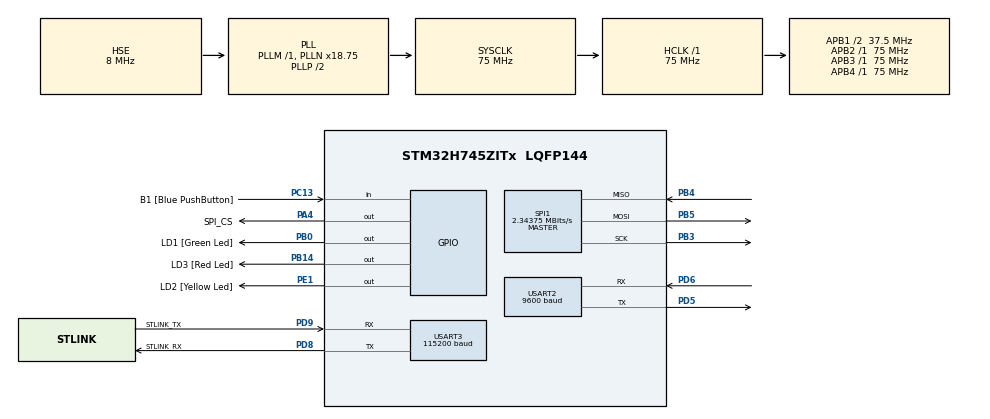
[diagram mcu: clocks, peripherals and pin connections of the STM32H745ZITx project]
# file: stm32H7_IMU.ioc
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CortexM4.IPs=BDMA,CORTEX_M4\:I,DEBUG,DMA,FATFS_M4\:I,FREERTOS_M4\:I,GPIO,IWDG2\:I,MDMA,NVIC2\:I,OPENAMP_M4\:I,PDM2PCM_M4\:I,PWR,RCC,RESMGR_UTILITY,SYS_M4\:I,USB_DEVICE_M4\:I,USB_HOST_M4\:I,VREFBUF,WWDG2\:I,USART3
CortexM4.Pins=PE1
CortexM7.IPs=BDMA\:I,CORTEX_M7\:I,DEBUG\:I,DMA\:I,FATFS_M7\:I,FREERTOS_M7\:I,GPIO\:I,IWDG1\:I,MDMA\:I,NVIC1\:I,OPENAMP_M7\:I,PDM2PCM_M7\:I,PWR\:I,RCC\:I,RESMGR_UTILITY\:I,SYS\:I,USB_DEVICE_M7\:I,USB_HOST_M7\:I,VREFBUF\:I,WWDG1\:I,USART3\:I,USART2\:I,SPI1\:I
CortexM7.Pins=PC13,PA4,PB0,PB14
Mcu.Family=STM32H7
Mcu.Name=STM32H745ZITx
Mcu.Package=LQFP144
NVIC1.PriorityGroup=NVIC_PRIORITYGROUP_4
NVIC2.PriorityGroup=NVIC_PRIORITYGROUP_4
PA4.GPIO_Label=SPI_CS
PA4.PinAttribute=CortexM7
PA4.Signal=GPIO_Output
PB0.GPIO_Label=LD1 [Green Led]
PB0.PinAttribute=CortexM7
PB0.Signal=GPIO_Output
PB14.GPIO_Label=LD3 [Red Led]
PB14.PinAttribute=CortexM7
PB14.Signal=GPIO_Output
PB3\ (JTDO/TRACESWO).Mode=Full_Duplex_Master
PB3\ (JTDO/TRACESWO).PinAttribute=CortexM7
PB3\ (JTDO/TRACESWO).Signal=SPI1_SCK
PB4\ (NJTRST).Mode=Full_Duplex_Master
PB4\ (NJTRST).PinAttribute=CortexM7
PB4\ (NJTRST).Signal=SPI1_MISO
PB5.Mode=Full_Duplex_Master
PB5.PinAttribute=CortexM7
PB5.Signal=SPI1_MOSI
PC13.GPIO_Label=B1 [Blue PushButton]
PC13.PinAttribute=CortexM7
PC13.Signal=GPIO_Input
PC14-OSC32_IN\ (OSC32_IN).Mode=LSE-External-Oscillator
PC14-OSC32_IN\ (OSC32_IN).PinAttribute=CortexM7
PC14-OSC32_IN\ (OSC32_IN).Signal=RCC_OSC32_IN
PC15-OSC32_OUT\ (OSC32_OUT).Mode=LSE-External-Oscillator
PC15-OSC32_OUT\ (OSC32_OUT).PinAttribute=CortexM7
PC15-OSC32_OUT\ (OSC32_OUT).Signal=RCC_OSC32_OUT
PD5.GPIO_ModeDefaultPP=GPIO_MODE_AF_PP
PD5.GPIO_PuPd=GPIO_NOPULL
PD5.GPIO_Speed=GPIO_SPEED_FREQ_LOW
PD5.Mode=Asynchronous
PD5.PinAttribute=CortexM7
PD5.Signal=USART2_TX
PD6.GPIO_ModeDefaultPP=GPIO_MODE_AF_PP
PD6.GPIO_PuPd=GPIO_NOPULL
PD6.GPIO_Speed=GPIO_SPEED_FREQ_LOW
PD6.Mode=Asynchronous
PD6.PinAttribute=CortexM7
PD6.Signal=USART2_RX
PD8.GPIO_Label=STLINK_RX
PD8.Mode=Asynchronous
PD8.PinAttribute=CortexM7
PD8.Signal=USART3_TX
PD9.GPIO_Label=STLINK_TX
PD9.Mode=Asynchronous
PD9.PinAttribute=CortexM7
PD9.Signal=USART3_RX
PE1.GPIO_Label=LD2 [Yellow Led]
PE1.PinAttribute=CortexM4
PE1.Signal=GPIO_Output
PH0-OSC_IN\ (PH0).Mode=HSE-External-Clock-Source
PH0-OSC_IN\ (PH0).PinAttribute=CortexM7
PH0-OSC_IN\ (PH0).Signal=RCC_OSC_IN
ProjectManager.HeapSize=M4-0x200,M7-0x200
ProjectManager.StackSize=M4-0x400,M7-0x400
ProjectManager.TargetToolchain=STM32CubeIDE
RCC.ADCFreq_Value=16125000
RCC.APB1Freq_Value=37500000
RCC.APB2Freq_Value=75000000
RCC.APB3Freq_Value=75000000
RCC.APB4Freq_Value=75000000
RCC.CortexFreq_Value=75000000
RCC.D2PPRE1=RCC_APB1_DIV2
RCC.DIVM1=1
RCC.DIVN1=18
RCC.HCLKFreq_Value=75000000
RCC.HSE_VALUE=8000000
RCC.PLLFRACN=6144
RCC.PLLSourceVirtual=RCC_PLLSOURCE_HSE
RCC.SYSCLKFreq_VALUE=75000000
RCC.SYSCLKSource=RCC_SYSCLKSOURCE_PLLCLK
RCC.USBFreq_Value=75000000
SPI1.BaudRatePrescaler=SPI_BAUDRATEPRESCALER_32
SPI1.CLKPhase=SPI_PHASE_2EDGE
SPI1.CLKPolarity=SPI_POLARITY_HIGH
SPI1.CalculateBaudRate=2.34375 MBits/s
SPI1.DataSize=SPI_DATASIZE_8BIT
SPI1.Direction=SPI_DIRECTION_2LINES
SPI1.Mode=SPI_MODE_MASTER
SPI1.VirtualType=VM_MASTER
USART2.BaudRate=9600
USART2.Parity=PARITY_EVEN
USART2.StopBits=STOPBITS_1
USART2.VirtualMode-Asynchronous=VM_ASYNC
USART3.BaudRate=115200
USART3.VirtualMode-Asynchronous=VM_ASYNC
board=custom

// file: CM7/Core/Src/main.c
/* USER CODE BEGIN Header */
/**
  ******************************************************************************
  * @file           : main.c
  * @brief          : Main program body
  ******************************************************************************
  * @attention
  *
  * Copyright (c) 2023 STMicroelectronics.
  * All rights reserved.
  *
  * This software is licensed under terms that can be found in the LICENSE file
  * in the root directory of this software component.
  * If no LICENSE file comes with this software, it is provided AS-IS.
  *
  ******************************************************************************
  */
/* USER CODE END Header */
#include "main.h"
#include "spi.h"
#include "usart.h"
#include "gpio.h"

/* USER CODE BEGIN Includes */
#include "myprintf.h"
#include "mpu9250.h"
/* USER CODE END Includes */

/* USER CODE BEGIN PD */

#ifndef HSEM_ID_0
#define HSEM_ID_0 (0U) /* HW semaphore 0*/
#endif
/* USER CODE END PD */

void SystemClock_Config(void);

int main(void)
{
/* USER CODE BEGIN Boot_Mode_Sequence_0 */
  int32_t timeout;
/* USER CODE END Boot_Mode_Sequence_0 */

/* USER CODE BEGIN Boot_Mode_Sequence_1 */
  /* Wait until CPU2 boots and enters in stop mode or timeout*/
  timeout = 0xFFFF;
  while((__HAL_RCC_GET_FLAG(RCC_FLAG_D2CKRDY) != RESET) && (timeout-- > 0));
  if ( timeout < 0 )
  {
  Error_Handler();
  }
/* USER CODE END Boot_Mode_Sequence_1 */
  /* MCU Configuration--------------------------------------------------------*/

  /* Reset of all peripherals, Initializes the Flash interface and the Systick. */
  HAL_Init();

  /* Configure the system clock */
  SystemClock_Config();
/* USER CODE BEGIN Boot_Mode_Sequence_2 */
/* When system initialization is finished, Cortex-M7 will release Cortex-M4 by means of
HSEM notification */
/*HW semaphore Clock enable*/
__HAL_RCC_HSEM_CLK_ENABLE();
/*Take HSEM */
HAL_HSEM_FastTake(HSEM_ID_0);
/*Release HSEM in order to notify the CPU2(CM4)*/
HAL_HSEM_Release(HSEM_ID_0,0);
/* wait until CPU2 wakes up from stop mode */
timeout = 0xFFFF;
while((__HAL_RCC_GET_FLAG(RCC_FLAG_D2CKRDY) == RESET) && (timeout-- > 0));
if ( timeout < 0 )
{
Error_Handler();
}
/* USER CODE END Boot_Mode_Sequence_2 */

  /* Initialize all configured peripherals */
  MX_GPIO_Init();
  MX_USART3_UART_Init();
  MX_USART2_UART_Init();
  MX_SPI1_Init();
  /* USER CODE BEGIN 2 */
  char axisLabel[3] = {'X','Y','Z'}; //Var for printing labels
  struct mpu9250 mpu={AFS_2G,GFS_250DPS}; //Struct for storing gyro and acc data

  printf("Initiating...\r\n"); //Initiating MPU9250
  initMPU9250(&mpu, AFS_2G, GFS_250DPS, M_8Hz);

  printf("Calibrating...\r\n");
  float accelBias[3], gyroBias[3]; //Calibrating and Printing Biases MPU9250
  calibrateMPU9250(gyroBias, accelBias);
  printf("AccBias {");
  for(int i=0; i<3; i++){
	  printf(" %c %.3f ",axisLabel[i],gyroBias[i]);
  }
  printf("} GyroBias{");
  for(int i=0; i<3; i++){
  	  printf(" %c %.3f ",axisLabel[i],accelBias[i]);
    }
  printf("}\r\n");

// @note: Variables for testing
//  without header files
//  int16_t accel_data[3]; //Accel Var
//  float accel_measure[3];
//  float a_conv = 2.0 / 32768;
//  int16_t gyro_data[3]; //Gyro Var
//  float gyro_measure[3];
//  float g_conv = 250.0 / 32768;
//  uint8_t imu_data[14]; //Raw Data
//  mpu9250_write_reg(28, 0x00); //Config Accel
//  mpu9250_write_reg(27, 0x00); //Config Gyro

  /* USER CODE END 2 */

  /* Infinite loop */
  /* USER CODE BEGIN WHILE */
  printf("Starting...\r\n");
  float initPose[] = {100,100,90};
  setPose(&mpu, initPose);
  while (1)
  {
    /* USER CODE END WHILE */

    /* USER CODE BEGIN 3 */

	  updateData(&mpu, 0.1, 1); //Printing with func from header file
	  printf("Acc XYZ:");
	  for(int i=0;i<3;i++){
		  printf("{%05.3f}",mpu.acc[i]);
	  }
	  printf(" Gyro XYZ:");
	   for(int i = 0; i<3;i++){
		   printf("{%05.1f}",mpu.gyro[i]);
	  }
	  printf(" Pose XYZ:");
	   for(int i = 0; i<3;i++){
		   printf("{%05.1f}",mpu.pose[i]);
	  }
	  printf("\r\n");

//	  @note: Code for testing without header files
//	  mpu9250_read_reg(59, imu_data, sizeof(imu_data)); //Reading register Acc registers
//	  accel_data[0] = ((int16_t)imu_data[0]<<8) | imu_data[1];
//	  accel_data[1] = ((int16_t)imu_data[2]<<8) | imu_data[3];
//	  accel_data[2] = ((int16_t)imu_data[4]<<8) | imu_data[5];
//
//	  for(int i = 0; i<3;i++){ //Joining high and low byte
//		  accel_measure[i] = (float)(accel_data[i]*a_conv);
//	  }
//
//	  printf("Acc: ");
//	  for(int i = 0; i<3;i++){
//		  printf("{%c: %.3f} ",axisLabel[i],accel_measure[i]);
//	  }
//	  printf("\r\n");

//	  mpu9250_read_reg(67, imu_data, sizeof(imu_data)); //Reading register Acc registers
//	  gyro_data[0] = ((int16_t)imu_data[0]<<8) | imu_data[1];
//	  gyro_data[1] = ((int16_t)imu_data[2]<<8) | imu_data[3];
//	  gyro_data[2] = ((int16_t)imu_data[4]<<8) | imu_data[5];
//
//	  for(int i = 0; i<3;i++){ //Joining high and low byte
//		  gyro_measure[i] = (float)(gyro_data[i]*g_conv);
//	  }
//
//	  printf("Gyro: ");
//	  for(int i = 0; i<3;i++){
//		  printf("{%c: %.1f} ",axisLabel[i],gyro_measure[i]);
//	  }
//	  printf("\r\n");
	  HAL_Delay(100);

  }
  /* USER CODE END 3 */
}

void SystemClock_Config(void)
{
  RCC_OscInitTypeDef RCC_OscInitStruct = {0};
  RCC_ClkInitTypeDef RCC_ClkInitStruct = {0};

  /** Supply configuration update enable
  */
  HAL_PWREx_ConfigSupply(PWR_DIRECT_SMPS_SUPPLY);

  /** Configure the main internal regulator output voltage
  */
  __HAL_PWR_VOLTAGESCALING_CONFIG(PWR_REGULATOR_VOLTAGE_SCALE3);

  while(!__HAL_PWR_GET_FLAG(PWR_FLAG_VOSRDY)) {}

  /** Initializes the RCC Oscillators according to the specified parameters
  * in the RCC_OscInitTypeDef structure.
  */
  RCC_OscInitStruct.OscillatorType = RCC_OSCILLATORTYPE_HSE;
  RCC_OscInitStruct.HSEState = RCC_HSE_BYPASS;
  RCC_OscInitStruct.PLL.PLLState = RCC_PLL_ON;
  RCC_OscInitStruct.PLL.PLLSource = RCC_PLLSOURCE_HSE;
  RCC_OscInitStruct.PLL.PLLM = 1;
  RCC_OscInitStruct.PLL.PLLN = 18;
  RCC_OscInitStruct.PLL.PLLP = 2;
  RCC_OscInitStruct.PLL.PLLQ = 2;
  RCC_OscInitStruct.PLL.PLLR = 2;
  RCC_OscInitStruct.PLL.PLLRGE = RCC_PLL1VCIRANGE_3;
  RCC_OscInitStruct.PLL.PLLVCOSEL = RCC_PLL1VCOMEDIUM;
  RCC_OscInitStruct.PLL.PLLFRACN = 6144;
  if (HAL_RCC_OscConfig(&RCC_OscInitStruct) != HAL_OK)
  {
    Error_Handler();
  }

  /** Initializes the CPU, AHB and APB buses clocks
  */
  RCC_ClkInitStruct.ClockType = RCC_CLOCKTYPE_HCLK|RCC_CLOCKTYPE_SYSCLK
                              |RCC_CLOCKTYPE_PCLK1|RCC_CLOCKTYPE_PCLK2
                              |RCC_CLOCKTYPE_D3PCLK1|RCC_CLOCKTYPE_D1PCLK1;
  RCC_ClkInitStruct.SYSCLKSource = RCC_SYSCLKSOURCE_PLLCLK;
  RCC_ClkInitStruct.SYSCLKDivider = RCC_SYSCLK_DIV1;
  RCC_ClkInitStruct.AHBCLKDivider = RCC_HCLK_DIV1;
  RCC_ClkInitStruct.APB3CLKDivider = RCC_APB3_DIV1;
  RCC_ClkInitStruct.APB1CLKDivider = RCC_APB1_DIV2;
  RCC_ClkInitStruct.APB2CLKDivider = RCC_APB2_DIV1;
  RCC_ClkInitStruct.APB4CLKDivider = RCC_APB4_DIV1;

  if (HAL_RCC_ClockConfig(&RCC_ClkInitStruct, FLASH_LATENCY_1) != HAL_OK)
  {
    Error_Handler();
  }
}

void Error_Handler(void)
{
  __disable_irq();
  while (1)
  {
  }
}
